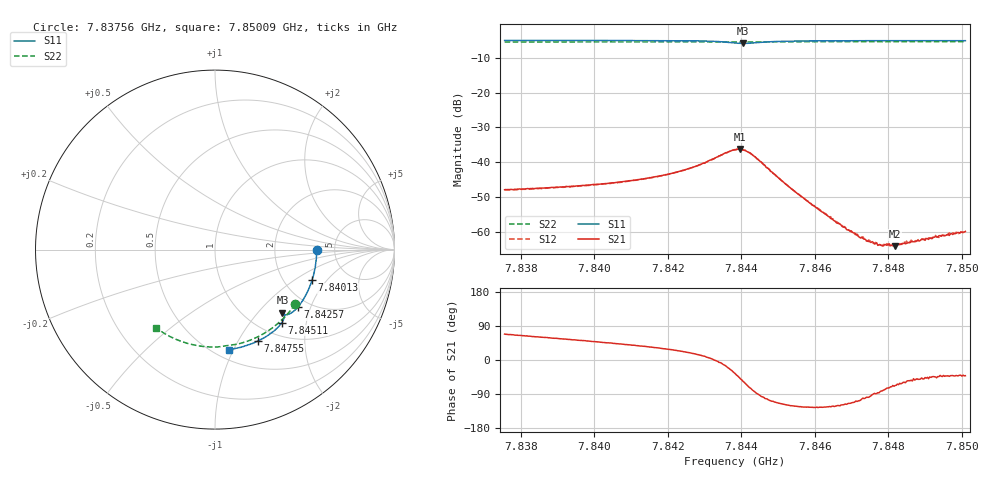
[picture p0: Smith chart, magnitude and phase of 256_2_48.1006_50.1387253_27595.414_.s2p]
#  HZ  S  RI  R  50.00
! Rohde & Schwarz Vector Network Analyzer
! Rohde-Schwarz,ZNB20-2Port,1311601062101988,3.16
! Created: UTC 12/23/2023, 4:00:17 AM
! freq[Hz]  re:S11  im:S11  re:S21  im:S21  re:S12  im:S12  re:S22  im:S22
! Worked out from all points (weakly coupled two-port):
!   401 points, 7.83756 GHz to 7.85009 GHz, reference 50 ohm
!   highest |S21| = -36.20 dB at 7.84395 GHz (marker M1); lowest = -64.2 dB at 7.84818 GHz (marker M2)
!   lowest |S11| = -5.8 dB at 7.84404 GHz (marker M3), VSWR 3.11, Z = 71.7 - j68.4 ohm
!   |S11| at or under -10 dB: nowhere
!   |S22| runs from -5.4 to -5.3 dB; largest |S21 - S12| = 0.00032
!   S11 on the Smith chart (normalised r, x): 7.83756 GHz: 3.61, -0.01; 7.84013 GHz: 2.83, -1.42; 7.84257 GHz: 1.74, -1.63; 7.84511 GHz: 1.25, -1.46; 7.84755 GHz: 0.81, -1.21; 7.85009 GHz: 0.59, -0.96
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7.837557e9  0.5665 -0.00105  0.00147 0.00373  0.00151 0.00368  0.4467 -0.303
7.839657e9  0.5495 -0.1397  0.00287 0.00361  0.00287 0.00357  0.3492 -0.4128
7.840127e9  0.5407 -0.1703  0.00328 0.00355  0.0032 0.00354  0.3235 -0.4333
7.84091e9  0.5219 -0.2201  0.0041 0.00348  0.00402 0.00345  0.2781 -0.4642
7.841757e9  0.4953 -0.2725  0.00536 0.0033  0.00532 0.00326  0.2254 -0.4921
7.842571e9  0.4612 -0.3209  0.00762 0.00272  0.0076 0.0027  0.1722 -0.5132
7.842979e9  0.4385 -0.3432  0.00947 0.00172  0.0095 0.0017  0.1445 -0.5214
7.843355e9  0.4124 -0.3592  0.0119 -0.000759  0.0119 -0.00081  0.119 -0.5273
7.843825e9  0.3786 -0.3585  0.0122 -0.0087  0.0124 -0.00884  0.0873 -0.5319
7.84395e9  0.3752 -0.3539  0.0105 -0.0114  0.0104 -0.0112  0.0795 -0.5329
7.844044e9  0.3756 -0.3507  0.00828 -0.0125  0.00837 -0.0124  0.0737 -0.5338
7.84417e9  0.3788 -0.35  0.00523 -0.0131  0.0054 -0.0131  0.0657 -0.5353
7.844358e9  0.3849 -0.3558  0.00134 -0.012  0.00138 -0.0121  0.0535 -0.5375
7.84511e9  0.3729 -0.4065  -0.00234 -0.00478  -0.00231 -0.00484  0.00109 -0.5427
7.845925e9  0.3325 -0.45  -0.00138 -0.00198  -0.00135 -0.002  -0.0565 -0.5407
7.846896e9  0.2773 -0.4888  -0.000443 -0.00096  -0.000459 -0.000961  -0.124 -0.5301
7.847241e9  0.2568 -0.5004  -0.000227 -0.000785  -0.000206 -0.000783  -0.1476 -0.5243
7.847555e9  0.2378 -0.5101  -2.19e-05 -0.000716  -8.2e-06 -0.000696  -0.1686 -0.518
7.847774e9  0.2244 -0.5162  7.31e-05 -0.000643  2.74e-05 -0.000638  -0.1834 -0.5132
7.848025e9  0.2091 -0.5229  0.000193 -0.000636  0.000184 -0.000598  -0.1997 -0.5071
7.848181e9  0.1992 -0.5266  0.000236 -0.000569  0.000261 -0.000606  -0.21 -0.503
7.850093e9  0.0757 -0.5574  0.000754 -0.000663  0.000774 -0.000651  -0.3266 -0.4377
